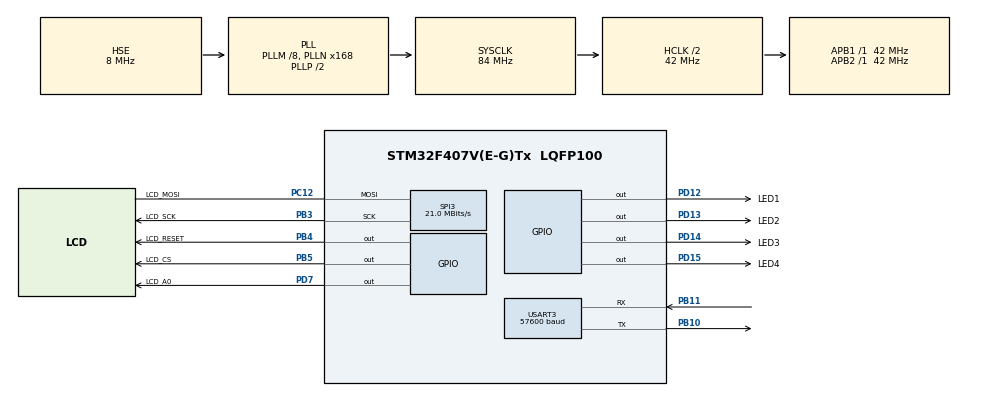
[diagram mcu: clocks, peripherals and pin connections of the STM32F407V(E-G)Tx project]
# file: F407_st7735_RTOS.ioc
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FREERTOS.INCLUDE_vTaskDelayUntil=1
FREERTOS.Tasks01=defaultTask,0,128,StartDefaultTask,Default,NULL,Dynamic,NULL,NULL
FREERTOS.configTOTAL_HEAP_SIZE=20000
FREERTOS.configUSE_TIMERS=1
Mcu.Family=STM32F4
Mcu.Name=STM32F407V(E-G)Tx
Mcu.Package=LQFP100
NVIC.PriorityGroup=NVIC_PRIORITYGROUP_4
NVIC.TIM6_DAC_IRQn=true\:0\:0\:false\:false\:true\:false\:false\:true
NVIC.TimeBase=TIM6_DAC_IRQn
NVIC.TimeBaseIP=TIM6
PA13.Mode=Serial_Wire
PA13.Signal=SYS_JTMS-SWDIO
PA14.Mode=Serial_Wire
PA14.Signal=SYS_JTCK-SWCLK
PB10.Mode=Asynchronous
PB10.Signal=USART3_TX
PB11.Mode=Asynchronous
PB11.Signal=USART3_RX
PB3.GPIO_Label=LCD_SCK
PB3.Mode=Simplex_Bidirectional_Master
PB3.Signal=SPI3_SCK
PB4.GPIO_Label=LCD_RESET
PB4.Signal=GPIO_Output
PB5.GPIO_Label=LCD_CS
PB5.Signal=GPIO_Output
PC12.GPIO_Label=LCD_MOSI
PC12.Mode=Simplex_Bidirectional_Master
PC12.Signal=SPI3_MOSI
PD12.GPIO_Label=LED1
PD12.Signal=GPIO_Output
PD13.GPIO_Label=LED2
PD13.Signal=GPIO_Output
PD14.GPIO_Label=LED3
PD14.Signal=GPIO_Output
PD15.GPIO_Label=LED4
PD15.Signal=GPIO_Output
PD7.GPIO_Label=LCD_A0
PD7.Signal=GPIO_Output
PH0-OSC_IN.Mode=HSE-External-Clock-Source
PH0-OSC_IN.Signal=RCC_OSC_IN
PH1-OSC_OUT.Mode=HSE-External-Clock-Source
PH1-OSC_OUT.Signal=RCC_OSC_OUT
ProjectManager.HeapSize=0x1000
ProjectManager.StackSize=0x2000
ProjectManager.TargetToolchain=MDK-ARM V5.27
RCC.48MHZClocksFreq_Value=24000000
RCC.AHBCLKDivider=RCC_SYSCLK_DIV2
RCC.AHBFreq_Value=42000000
RCC.APB1Freq_Value=42000000
RCC.APB1TimFreq_Value=42000000
RCC.APB2Freq_Value=42000000
RCC.APB2TimFreq_Value=42000000
RCC.CortexFreq_Value=42000000
RCC.HCLKFreq_Value=42000000
RCC.HSE_VALUE=8000000
RCC.HSI_VALUE=16000000
RCC.LSE_VALUE=32768
RCC.PLLM=8
RCC.PLLN=168
RCC.PLLQ=7
RCC.PLLSourceVirtual=RCC_PLLSOURCE_HSE
RCC.SYSCLKFreq_VALUE=84000000
RCC.SYSCLKSource=RCC_SYSCLKSOURCE_PLLCLK
RCC.VCOOutputFreq_Value=168000000
SPI3.BaudRatePrescaler=SPI_BAUDRATEPRESCALER_2
SPI3.CalculateBaudRate=21.0 MBits/s
SPI3.Direction=SPI_DIRECTION_1LINE
SPI3.Mode=SPI_MODE_MASTER
SPI3.VirtualType=VM_MASTER
USART3.BaudRate=57600
USART3.VirtualMode=VM_ASYNC
VP_FREERTOS_VS_CMSIS_V1.Mode=CMSIS_V1
VP_SYS_VS_tim6.Mode=TIM6
board=STM32F407G-DISC1

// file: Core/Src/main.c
/* USER CODE BEGIN Header */
/**
  ******************************************************************************
  * @file           : main.c
  * @brief          : Main program body
  ******************************************************************************
  * @attention
  *
  * <h2><center>&copy; Copyright (c) 2022 STMicroelectronics.
  * All rights reserved.</center></h2>
  *
  * This software component is licensed by ST under Ultimate Liberty license
  * SLA0044, the "License"; You may not use this file except in compliance with
  * the License. You may obtain a copy of the License at:
  *                             www.st.com/SLA0044
  *
  ******************************************************************************
  */
/* USER CODE END Header */
#include "main.h"
#include "cmsis_os.h"
#include "spi.h"
#include "usart.h"
#include "gpio.h"

/* USER CODE BEGIN Includes */
#include "stdio.h"
#include "string.h"
#include "st7735.h"
/* USER CODE END Includes */

/* USER CODE BEGIN PV */

const unsigned char str1[]="HAL STM32F4";
const unsigned char str2[]="ST7735";
const unsigned char str3[]="test...";
char str4[10];
const unsigned char str5[] = "no more information";
/* USER CODE END PV */

void SystemClock_Config(void);
void MX_FREERTOS_Init(void);

int main(void)
{

  /* MCU Configuration--------------------------------------------------------*/

  /* Reset of all peripherals, Initializes the Flash interface and the Systick. */
  HAL_Init();

  /* Configure the system clock */
  SystemClock_Config();

  /* Initialize all configured peripherals */
  MX_GPIO_Init();
  MX_SPI3_Init();
  MX_USART3_UART_Init();
  /* USER CODE BEGIN 2 */
		UART3_SendString ("lcd_init\r\n");

	lcdInit();
	ClearLcdMemory();
	LCD_SetFont(Arial_22x23,black);
	LCD_ShowString(10,15,"WEB interface");
	LCD_Refresh();

	LED1(1); LED3(1); LED2(0); LED4(0);
  /* USER CODE END 2 */

  /* Call init function for freertos objects (in freertos.c) */
  MX_FREERTOS_Init();
  /* Start scheduler */
  osKernelStart();

  /* We should never get here as control is now taken by the scheduler */
  /* Infinite loop */
  while (1)
  {

  }
}

void SystemClock_Config(void)
{
  RCC_OscInitTypeDef RCC_OscInitStruct = {0};
  RCC_ClkInitTypeDef RCC_ClkInitStruct = {0};

  /** Configure the main internal regulator output voltage
  */
  __HAL_RCC_PWR_CLK_ENABLE();
  __HAL_PWR_VOLTAGESCALING_CONFIG(PWR_REGULATOR_VOLTAGE_SCALE1);
  /** Initializes the RCC Oscillators according to the specified parameters
  * in the RCC_OscInitTypeDef structure.
  */
  RCC_OscInitStruct.OscillatorType = RCC_OSCILLATORTYPE_HSE;
  RCC_OscInitStruct.HSEState = RCC_HSE_BYPASS;
  RCC_OscInitStruct.PLL.PLLState = RCC_PLL_ON;
  RCC_OscInitStruct.PLL.PLLSource = RCC_PLLSOURCE_HSE;
  RCC_OscInitStruct.PLL.PLLM = 8;
  RCC_OscInitStruct.PLL.PLLN = 168;
  RCC_OscInitStruct.PLL.PLLP = RCC_PLLP_DIV2;
  RCC_OscInitStruct.PLL.PLLQ = 7;
  if (HAL_RCC_OscConfig(&RCC_OscInitStruct) != HAL_OK)
  {
    Error_Handler();
  }
  /** Initializes the CPU, AHB and APB buses clocks
  */
  RCC_ClkInitStruct.ClockType = RCC_CLOCKTYPE_HCLK|RCC_CLOCKTYPE_SYSCLK
                              |RCC_CLOCKTYPE_PCLK1|RCC_CLOCKTYPE_PCLK2;
  RCC_ClkInitStruct.SYSCLKSource = RCC_SYSCLKSOURCE_PLLCLK;
  RCC_ClkInitStruct.AHBCLKDivider = RCC_SYSCLK_DIV2;
  RCC_ClkInitStruct.APB1CLKDivider = RCC_HCLK_DIV1;
  RCC_ClkInitStruct.APB2CLKDivider = RCC_HCLK_DIV1;

  if (HAL_RCC_ClockConfig(&RCC_ClkInitStruct, FLASH_LATENCY_1) != HAL_OK)
  {
    Error_Handler();
  }
}

 /**
  * @brief  Period elapsed callback in non blocking mode
  * @note   This function is called  when TIM6 interrupt took place, inside
  * HAL_TIM_IRQHandler(). It makes a direct call to HAL_IncTick() to increment
  * a global variable "uwTick" used as application time base.
  * @param  htim : TIM handle
  * @retval None
  */
void HAL_TIM_PeriodElapsedCallback(TIM_HandleTypeDef *htim)
{
  if (htim->Instance == TIM6) {
    HAL_IncTick();
  }
}

void Error_Handler(void)
{
  __disable_irq();
  while (1)
  {
  }
}

/************************ (C) COPYRIGHT STMicroelectronics *****END OF FILE****/

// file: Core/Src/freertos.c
/* USER CODE BEGIN Header */
/**
  ******************************************************************************
  * File Name          : freertos.c
  * Description        : Code for freertos applications
  ******************************************************************************
  * @attention
  *
  * <h2><center>&copy; Copyright (c) 2022 STMicroelectronics.
  * All rights reserved.</center></h2>
  *
  * This software component is licensed by ST under Ultimate Liberty license
  * SLA0044, the "License"; You may not use this file except in compliance with
  * the License. You may obtain a copy of the License at:
  *                             www.st.com/SLA0044
  *
  ******************************************************************************
  */
/* USER CODE END Header */

#include "FreeRTOS.h"
#include "task.h"
#include "main.h"
#include "cmsis_os.h"

/* USER CODE BEGIN Includes */
#include "stdio.h"
#include "string.h"
#include "gpio.h"
#include "st7735.h"
/* USER CODE END Includes */

/* USER CODE BEGIN Variables */
extern char str4[10];
/* USER CODE END Variables */
osThreadId defaultTaskHandle;

void StartDefaultTask(void const * argument);

void MX_FREERTOS_Init(void); /* (MISRA C 2004 rule 8.1) */

/* GetIdleTaskMemory prototype (linked to static allocation support) */
void vApplicationGetIdleTaskMemory( StaticTask_t **ppxIdleTaskTCBBuffer, StackType_t **ppxIdleTaskStackBuffer, uint32_t *pulIdleTaskStackSize );

/* GetTimerTaskMemory prototype (linked to static allocation support) */
void vApplicationGetTimerTaskMemory( StaticTask_t **ppxTimerTaskTCBBuffer, StackType_t **ppxTimerTaskStackBuffer, uint32_t *pulTimerTaskStackSize );

/* USER CODE BEGIN GET_IDLE_TASK_MEMORY */
static StaticTask_t xIdleTaskTCBBuffer;
static StackType_t xIdleStack[configMINIMAL_STACK_SIZE];

void vApplicationGetIdleTaskMemory( StaticTask_t **ppxIdleTaskTCBBuffer, StackType_t **ppxIdleTaskStackBuffer, uint32_t *pulIdleTaskStackSize )
{
  *ppxIdleTaskTCBBuffer = &xIdleTaskTCBBuffer;
  *ppxIdleTaskStackBuffer = &xIdleStack[0];
  *pulIdleTaskStackSize = configMINIMAL_STACK_SIZE;
  /* place for user code */
}
/* USER CODE END GET_IDLE_TASK_MEMORY */

/* USER CODE BEGIN GET_TIMER_TASK_MEMORY */
static StaticTask_t xTimerTaskTCBBuffer;
static StackType_t xTimerStack[configTIMER_TASK_STACK_DEPTH];

void vApplicationGetTimerTaskMemory( StaticTask_t **ppxTimerTaskTCBBuffer, StackType_t **ppxTimerTaskStackBuffer, uint32_t *pulTimerTaskStackSize )
{
  *ppxTimerTaskTCBBuffer = &xTimerTaskTCBBuffer;
  *ppxTimerTaskStackBuffer = &xTimerStack[0];
  *pulTimerTaskStackSize = configTIMER_TASK_STACK_DEPTH;
  /* place for user code */
}
/* USER CODE END GET_TIMER_TASK_MEMORY */

void MX_FREERTOS_Init(void) {

  /* Create the thread(s) */
  /* definition and creation of defaultTask */
  osThreadDef(defaultTask, StartDefaultTask, osPriorityNormal, 0, 128);
  defaultTaskHandle = osThreadCreate(osThread(defaultTask), NULL);

}

void StartDefaultTask(void const * argument)
{
  /* USER CODE BEGIN StartDefaultTask */
	uint8_t	status = 0;
  /* Infinite loop */
  for(;;)
  {

		sprintf (str4, "status = %u", status);
		ClearLcdMemory();
		LCD_SetFont(Arial_22x23,black);
		LCD_ShowString(15, 15, str4);
		TOOGGLE_LED1; TOOGGLE_LED2; TOOGGLE_LED3; TOOGGLE_LED4;
		if ((++status) > 10)
			status = 0;
    osDelay(500);
  }
  /* USER CODE END StartDefaultTask */
}

/************************ (C) COPYRIGHT STMicroelectronics *****END OF FILE****/
